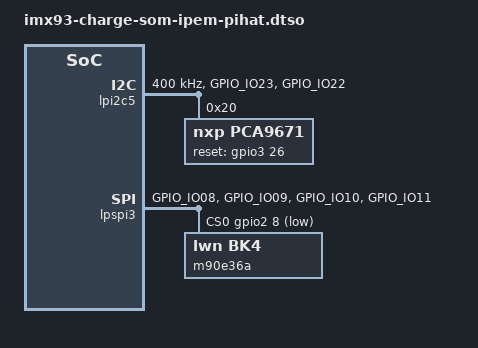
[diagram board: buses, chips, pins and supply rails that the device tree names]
// SPDX-License-Identifier: GPL-2.0
/*
 * Copyright (C) 2025 chargebyte GmbH
 * Author: Stefan Wahren <stefan.wahren@chargebyte.com>
 */

#include <dt-bindings/gpio/gpio.h>
#include "imx93-pinfunc.h"

/dts-v1/;
/plugin/;

&{/} {
	model = "chargebyte Charge SOM Evaluation Kit IPEM PiHat";
};

&lpi2c5 {
	clock-frequency = <400000>;
	pinctrl-names = "default";
	pinctrl-0 = <&pinctrl_lpi2c5>;
	#address-cells = <1>;
	#size-cells = <0>;
	status = "okay";

	pca9671: gpio@20 {
		compatible = "nxp,pca9671";
		reg = <0x20>;
		gpio-controller;
		#gpio-cells = <2>;
		reset-gpios = <&gpio3 26 GPIO_ACTIVE_HIGH>;
		gpio-line-names = "ATM_WO", "ATM_IRQ0", "ATM_IRQ1", "ATM_PM0", "ATM_PM1", "USR_P1", "USR_P2", "USR_BTN", \
				  "ATM_RST", "ATM_CS", "ATM_DMA", "LED_BLU", "LED_RED", "LED_GRN", "RLY1", "RLY2";

		usr-p1-hog {
			gpio-hog;
			gpios = <&pca9671 5 GPIO_ACTIVE_HIGH>;
			input;
		};
	
		usr-p2-hog {
			gpio-hog;
			gpios = <&pca9671 6 GPIO_ACTIVE_HIGH>;
			input;
		};
	};
};

&lpspi3 {
	pinctrl-names = "default";
	pinctrl-0 = <&pinctrl_lpspi3>;
	num-cs = <1>;
	cs-gpios = <&gpio2 8 GPIO_ACTIVE_LOW>;
	#address-cells = <1>;
	#size-cells = <0>;
	status = "okay";

	m90e36a@0 {
		compatible = "lwn,bk4";
		reg = <0>;
	};
};

&iomuxc {
	pinctrl_lpi2c5: lpi2c5grp {
		/* sion, drive strength: X2, slew rate: fast, pull up, open drain */
		fsl,pins = <
			MX93_PAD_GPIO_IO23__LPI2C5_SCL		0x40000b86
			MX93_PAD_GPIO_IO22__LPI2C5_SDA		0x40000b86
		>;
	};

	pinctrl_lpspi3: lpspi3grp {
		/* drive strength: X2, slew rate: fast, no pull */
		fsl,pins = <
			MX93_PAD_GPIO_IO08__GPIO2_IO08		0x186
			MX93_PAD_GPIO_IO09__LPSPI3_SIN		0x186
			MX93_PAD_GPIO_IO10__LPSPI3_SOUT		0x186
			MX93_PAD_GPIO_IO11__LPSPI3_SCK		0x186
		>;
	};
};
